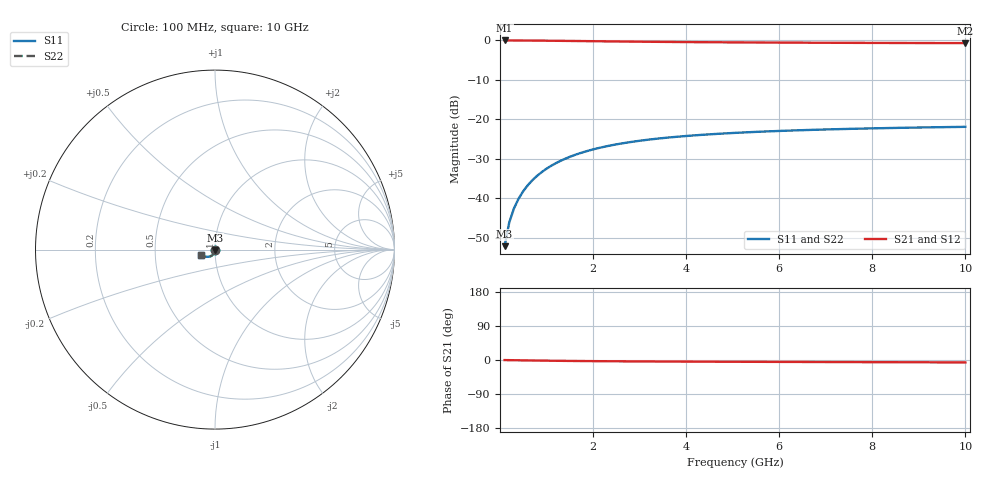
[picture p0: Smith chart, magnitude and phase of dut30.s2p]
! Touchstone file exported from HFSS 2024.1.0
!  File:  C:/UserFiles/LocalFiles/RDL_TSV_Batchsim/temp_TSV1_30_1778747587.aedt
!  Generated:  04:38:02 PM May 14, 2026
!  Design:  TSV1
!  Project:  temp_TSV1_30_1778747587
!  Setup:  Setup1
!  Solution:  Sweep
! Variables:
!  dtsv = 15.93um
!  hbump = 3um
!  htsv = 96.34um
!  lrdl = 252.1521522um
!  p = 40
!  p1 = 52.58um
!  t = 500um
!  trdl = 3um
!  wrdl = 24.89489489um
# GHz S MA R 50.000000
! Terminal data exported
! Port[1] = TSV22_T1
! Port[2] = TSV22_T2
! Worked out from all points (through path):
!   100 points, 100 MHz to 10 GHz, reference 50 ohm
!   highest |S21| = 0.00 dB at 100 MHz (marker M1); lowest = -0.7 dB at 10 GHz (marker M2)
!   lowest |S11| = -52.1 dB at 100 MHz (marker M3), VSWR 1.00, Z = 50 - j0.249 ohm
!   |S11| at or under -10 dB: start of sweep to end of sweep
!   |S22| runs from -52.1 to -21.9 dB; largest |S21 - S12| = 5.4e-15
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0.1  0.002491 -89.9  0.9998 -0.2  0.9998 -0.2  0.002491 -89.9
! Gamma 0 0 0 0
! Port Impedance 50 0 50 0
0.2  0.004984 -92.5  0.9996 -0.4  0.9996 -0.4  0.004984 -92.5
0.3  0.00747 -94.6  0.9992 -0.6  0.9992 -0.6  0.00747 -94.6
0.4  0.009935 -96.6  0.9986 -0.8  0.9986 -0.8  0.009935 -96.6
0.5  0.01237 -98.6  0.9979 -0.9  0.9979 -0.9  0.01237 -98.6
0.6  0.01476 -100.4  0.9971 -1.1  0.9971 -1.1  0.01476 -100.4
0.7  0.0171 -102.2  0.9961 -1.3  0.9961 -1.3  0.0171 -102.2
0.8  0.0194 -104.0  0.9951 -1.5  0.9951 -1.5  0.0194 -104.0
0.9  0.02163 -105.8  0.9939 -1.6  0.9939 -1.6  0.02163 -105.8
1.1  0.0259 -109.1  0.9914 -1.9  0.9914 -1.9  0.0259 -109.1
1.4  0.03181 -113.7  0.9873 -2.3  0.9873 -2.3  0.03181 -113.7
1.6  0.0354 -116.6  0.9843 -2.6  0.9843 -2.6  0.0354 -116.6
1.8  0.03872 -119.3  0.9813 -2.8  0.9813 -2.8  0.03872 -119.3
2.1  0.04321 -123.0  0.9769 -3.1  0.9769 -3.1  0.04321 -123.0
2.5  0.04838 -127.4  0.9712 -3.4  0.9712 -3.4  0.04838 -127.4
2.9  0.05275 -131.2  0.966 -3.7  0.966 -3.7  0.05275 -131.2
3.4  0.05731 -135.3  0.9601 -4.0  0.9601 -4.0  0.05731 -135.3
4.2  0.06304 -140.7  0.9522 -4.3  0.9522 -4.3  0.06304 -140.7
5.1  0.06787 -145.4  0.9452 -4.7  0.9452 -4.7  0.06787 -145.4
6.7  0.07384 -151.7  0.936 -5.2  0.936 -5.2  0.07384 -151.7
8.4  0.07798 -156.6  0.9294 -5.8  0.9294 -5.8  0.07798 -156.6
10  0.08065 -160.2  0.9251 -6.3  0.9251 -6.3  0.08065 -160.2
